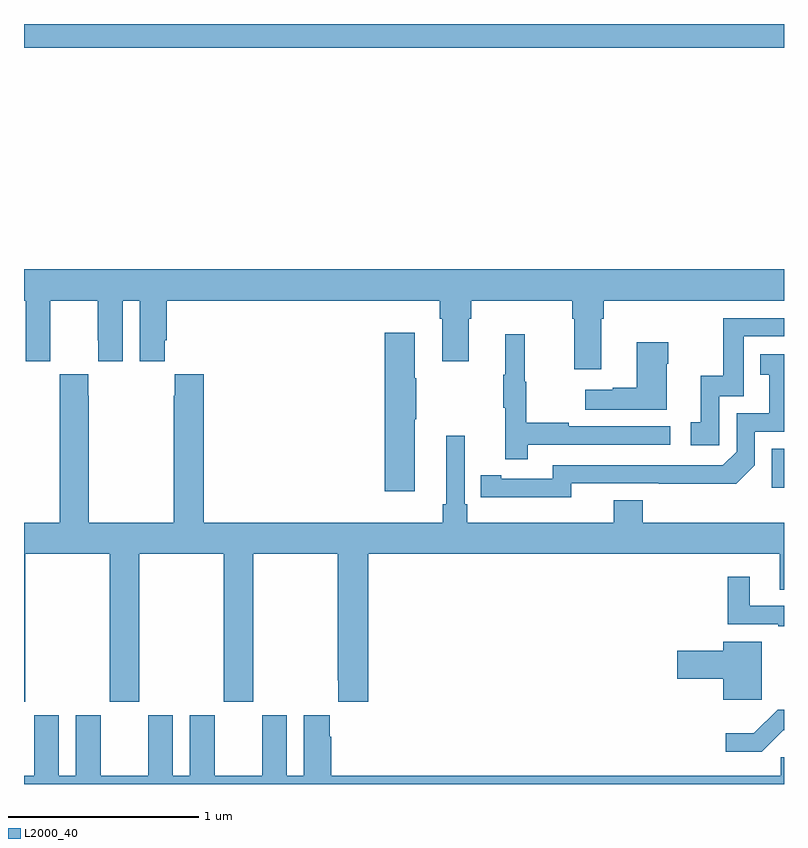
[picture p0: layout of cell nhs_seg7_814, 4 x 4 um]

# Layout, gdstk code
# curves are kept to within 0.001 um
import gdstk
lib = gdstk.Library(unit=1e-6, precision=1e-09)
def R(c, l, rs):  # rectangles x0, y0, x1, y1
    for r in rs: c.add(gdstk.rectangle(r[:2], r[2:], *l))
def P(c, l, *ps):  # polygons
    for p in ps: c.add(gdstk.Polygon(p, *l))
L2000_40 = (2000, 40)

nhs_seg7_814 = lib.new_cell('nhs_seg7_814')
R(nhs_seg7_814, L2000_40, [(174.936,1071.558,175,1071.765), (171,1073.876,175,1074)])
P(nhs_seg7_814, L2000_40, [(174.037,1072.448),(174.05,1072.448),(174.05,1072.544),(175,1072.544),(175,1072.708),(171,1072.708),(171,1072.544),(171.008,1072.544),(171.008,1072.224),(171.138,1072.224),(171.138,1072.336),(171.139,1072.336),(171.139,1072.544),(171.389,1072.544),(171.389,1072.336),(171.39,1072.336),(171.39,1072.224),(171.52,1072.224),(171.52,1072.544),(171.608,1072.544),(171.608,1072.224),(171.742,1072.224),(171.742,1072.336),(171.752,1072.336),(171.752,1072.544),(173.189,1072.544),(173.189,1072.448),(173.201,1072.448),(173.201,1072.224),(173.341,1072.224),(173.341,1072.448),(173.354,1072.448),(173.354,1072.544),(173.885,1072.544),(173.885,1072.448),(173.897,1072.448),(173.897,1072.182),(174.037,1072.182)],
  [(174.66,1072.041),(174.789,1072.041),(174.789,1072.356),(175,1072.356),(175,1072.452),(174.681,1072.452),(174.681,1072.15),(174.563,1072.15),(174.563,1071.903),(174.51,1071.903),(174.51,1071.783),(174.66,1071.783)],
  [(173.056,1071.919),(173.064,1071.919),(173.064,1072.136),(173.056,1072.136),(173.056,1072.375),(172.898,1072.375),(172.898,1071.54),(173.056,1071.54)],
  [(173.651,1071.786),(174.4,1071.786),(174.4,1071.882),(173.867,1071.882),(173.867,1071.902),(173.644,1071.902),(173.644,1072.116),(173.636,1072.116),(173.636,1072.366),(173.534,1072.366),(173.534,1072.153),(173.523,1072.153),(173.523,1071.979),(173.534,1071.979),(173.534,1071.708),(173.651,1071.708)],
  [(174.382,1072.211),(174.39,1072.211),(174.39,1072.324),(174.224,1072.324),(174.224,1072.085),(174.098,1072.085),(174.098,1072.075),(173.955,1072.075),(173.955,1071.971),(174.382,1071.971)],
  [(173.88,1071.582),(174.748,1071.581),(174.846,1071.678),(174.846,1071.855),(175,1071.855),(175,1072.261),(174.874,1072.261),(174.874,1072.155),(174.923,1072.155),(174.923,1071.951),(174.75,1071.951),(174.75,1071.75),(174.678,1071.678),(173.784,1071.678),(173.784,1071.606),(173.512,1071.606),(173.512,1071.626),(173.404,1071.626),(173.404,1071.51),(173.88,1071.509)],
  [(171.006,1071.212),(171.451,1071.212),(171.451,1070.433),(171.606,1070.433),(171.606,1071.212),(172.051,1071.212),(172.051,1070.433),(172.206,1070.433),(172.206,1071.212),(172.651,1071.212),(172.651,1070.545),(172.655,1070.545),(172.655,1070.433),(172.811,1070.433),(172.811,1071.212),(174.977,1071.212),(174.977,1071.022),(175,1071.022),(175,1071.376),(174.257,1071.376),(174.257,1071.493),(174.104,1071.493),(174.104,1071.376),(173.333,1071.376),(173.333,1071.472),(173.319,1071.472),(173.319,1071.832),(173.222,1071.832),(173.222,1071.472),(173.203,1071.472),(173.203,1071.376),(171.947,1071.376),(171.947,1072.156),(171.793,1072.156),(171.793,1072.043),(171.787,1072.043),(171.787,1071.376),(171.342,1071.376),(171.342,1072.043),(171.339,1072.043),(171.339,1072.156),(171.189,1072.156),(171.189,1072.043),(171.187,1072.043),(171.187,1071.376),(171,1071.376),(171,1070.433),(171.006,1070.433)],
  [(175,1070.937),(174.82,1070.937),(174.82,1071.091),(174.703,1071.091),(174.703,1070.841),(174.971,1070.841),(174.971,1070.829),(175,1070.829)],
  [(174.883,1070.749),(174.68,1070.749),(174.68,1070.702),(174.438,1070.702),(174.438,1070.555),(174.68,1070.555),(174.68,1070.444),(174.883,1070.444)],
  [(174.995,1070.282),(175,1070.282),(175,1070.392),(174.967,1070.392),(174.841,1070.266),(174.693,1070.266),(174.693,1070.169),(174.882,1070.169)],
  [(172.616,1070.249),(172.609,1070.249),(172.609,1070.362),(172.472,1070.362),(172.472,1070.044),(172.384,1070.044),(172.384,1070.362),(172.253,1070.362),(172.253,1070.044),(172.003,1070.044),(172.003,1070.362),(171.872,1070.362),(171.872,1070.044),(171.784,1070.044),(171.784,1070.362),(171.653,1070.362),(171.653,1070.044),(171.403,1070.044),(171.403,1070.362),(171.272,1070.362),(171.272,1070.044),(171.184,1070.044),(171.184,1070.362),(171.053,1070.362),(171.053,1070.044),(171,1070.044),(171,1070),(175,1070),(175,1070.142),(174.984,1070.142),(174.984,1070.044),(172.616,1070.044)])

lib.write_gds('nhs_seg7_814.gds')
